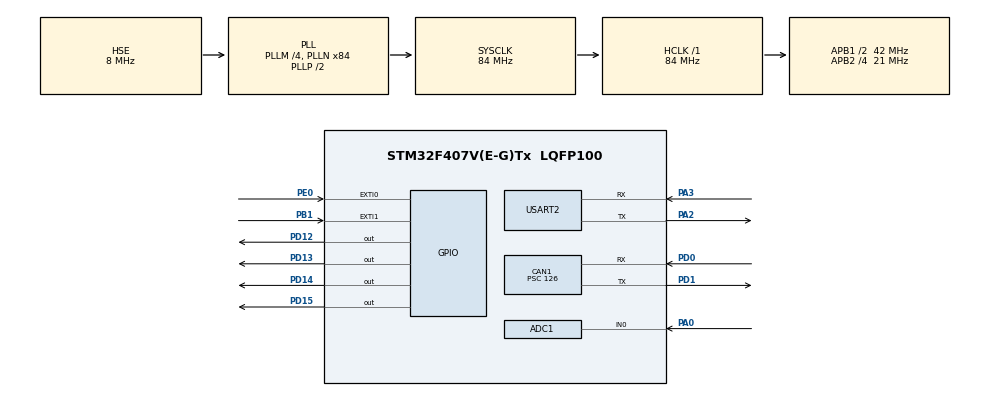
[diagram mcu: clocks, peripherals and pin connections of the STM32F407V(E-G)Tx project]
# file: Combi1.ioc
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ADC1.Channel-0\#ChannelRegularConversion=ADC_CHANNEL_0
ADC1.ClockPrescaler=ADC_CLOCK_SYNC_PCLK_DIV4
ADC1.ContinuousConvMode=ENABLE
ADC1.NbrOfConversionFlag=1
ADC1.Rank-0\#ChannelRegularConversion=1
ADC1.SamplingTime-0\#ChannelRegularConversion=ADC_SAMPLETIME_3CYCLES
ADC1.ScanConvMode=ENABLE
ADC1.master=1
CAN1.BS1=CAN_BS1_12TQ
CAN1.BS2=CAN_BS2_4TQ
CAN1.CalculateTimeQuantum=3000.0
CAN1.Prescaler=126
Dma.ADC1.0.Direction=DMA_PERIPH_TO_MEMORY
Dma.ADC1.0.FIFOMode=DMA_FIFOMODE_DISABLE
Dma.ADC1.0.Instance=DMA2_Stream0
Dma.ADC1.0.MemDataAlignment=DMA_MDATAALIGN_HALFWORD
Dma.ADC1.0.MemInc=DMA_MINC_ENABLE
Dma.ADC1.0.Mode=DMA_NORMAL
Dma.ADC1.0.PeriphDataAlignment=DMA_PDATAALIGN_HALFWORD
Dma.ADC1.0.PeriphInc=DMA_PINC_DISABLE
Dma.ADC1.0.Priority=DMA_PRIORITY_LOW
Dma.Request0=ADC1
Dma.Request1=USART2_RX
Dma.Request2=USART2_TX
Dma.USART2_RX.1.Direction=DMA_PERIPH_TO_MEMORY
Dma.USART2_RX.1.FIFOMode=DMA_FIFOMODE_DISABLE
Dma.USART2_RX.1.Instance=DMA1_Stream5
Dma.USART2_RX.1.MemDataAlignment=DMA_MDATAALIGN_BYTE
Dma.USART2_RX.1.MemInc=DMA_MINC_ENABLE
Dma.USART2_RX.1.Mode=DMA_NORMAL
Dma.USART2_RX.1.PeriphDataAlignment=DMA_PDATAALIGN_BYTE
Dma.USART2_RX.1.PeriphInc=DMA_PINC_DISABLE
Dma.USART2_RX.1.Priority=DMA_PRIORITY_LOW
Dma.USART2_TX.2.Direction=DMA_MEMORY_TO_PERIPH
Dma.USART2_TX.2.FIFOMode=DMA_FIFOMODE_DISABLE
Dma.USART2_TX.2.Instance=DMA1_Stream6
Dma.USART2_TX.2.MemDataAlignment=DMA_MDATAALIGN_BYTE
Dma.USART2_TX.2.MemInc=DMA_MINC_ENABLE
Dma.USART2_TX.2.Mode=DMA_NORMAL
Dma.USART2_TX.2.PeriphDataAlignment=DMA_PDATAALIGN_BYTE
Dma.USART2_TX.2.PeriphInc=DMA_PINC_DISABLE
Dma.USART2_TX.2.Priority=DMA_PRIORITY_LOW
FREERTOS.BinarySemaphores01=myBinarySem01,Dynamic,NULL
FREERTOS.CountingSemaphores01=myCountingSem01,2,Dynamic,NULL
FREERTOS.Tasks01=defaultTask,24,128,StartDefaultTask,Default,NULL,Dynamic,NULL,NULL;IR_EXT1,8,128,StartTask02,Default,NULL,Dynamic,NULL,NULL;Can_Tx,8,128,StartTask03,Default,NULL,Dynamic,NULL,NULL;Temperature,8,128,StartTask04,Default,NULL,Dynamic,NULL,NULL
FREERTOS.Timers01=myTimer01,Callback01,osTimerPeriodic,Default,NULL,Dynamic,NULL
Mcu.Family=STM32F4
Mcu.Name=STM32F407V(E-G)Tx
Mcu.Package=LQFP100
NVIC.ADC_IRQn=true\:5\:0\:false\:false\:true\:true\:true\:true
NVIC.DMA1_Stream5_IRQn=true\:5\:0\:false\:false\:true\:true\:false\:true
NVIC.DMA1_Stream6_IRQn=true\:5\:0\:false\:false\:true\:true\:false\:true
NVIC.DMA2_Stream0_IRQn=true\:5\:0\:false\:false\:true\:true\:false\:true
NVIC.EXTI0_IRQn=true\:5\:0\:false\:false\:true\:true\:true\:true
NVIC.PriorityGroup=NVIC_PRIORITYGROUP_4
NVIC.TIM1_UP_TIM10_IRQn=true\:0\:0\:false\:false\:true\:false\:false\:true
NVIC.TimeBase=TIM1_UP_TIM10_IRQn
NVIC.TimeBaseIP=TIM1
PA0-WKUP.Signal=ADCx_IN0
PA13.Mode=Serial_Wire
PA13.Signal=SYS_JTMS-SWDIO
PA14.Mode=Serial_Wire
PA14.Signal=SYS_JTCK-SWCLK
PA2.Mode=Asynchronous
PA2.Signal=USART2_TX
PA3.Mode=Asynchronous
PA3.Signal=USART2_RX
PB1.Signal=GPXTI1
PD0.Mode=Master
PD0.Signal=CAN1_RX
PD1.Mode=Master
PD1.Signal=CAN1_TX
PD12.Signal=GPIO_Output
PD13.Signal=GPIO_Output
PD14.Signal=GPIO_Output
PD15.Signal=GPIO_Output
PE0.Signal=GPXTI0
PH0-OSC_IN.Mode=HSE-External-Oscillator
PH0-OSC_IN.Signal=RCC_OSC_IN
PH1-OSC_OUT.Mode=HSE-External-Oscillator
PH1-OSC_OUT.Signal=RCC_OSC_OUT
ProjectManager.HeapSize=0x200
ProjectManager.StackSize=0x400
ProjectManager.TargetToolchain=TrueSTUDIO
RCC.48MHZClocksFreq_Value=24000000
RCC.AHBFreq_Value=84000000
RCC.APB1CLKDivider=RCC_HCLK_DIV2
RCC.APB1Freq_Value=42000000
RCC.APB1TimFreq_Value=84000000
RCC.APB2CLKDivider=RCC_HCLK_DIV4
RCC.APB2Freq_Value=21000000
RCC.APB2TimFreq_Value=42000000
RCC.CortexFreq_Value=84000000
RCC.HCLKFreq_Value=84000000
RCC.HSE_VALUE=8000000
RCC.HSI_VALUE=16000000
RCC.LSE_VALUE=32768
RCC.PLLM=4
RCC.PLLN=84
RCC.PLLQ=7
RCC.PLLSourceVirtual=RCC_PLLSOURCE_HSE
RCC.SYSCLKFreq_VALUE=84000000
RCC.SYSCLKSource=RCC_SYSCLKSOURCE_PLLCLK
RCC.VCOOutputFreq_Value=168000000
SH.ADCx_IN0.0=ADC1_IN0,IN0
TIM3.Period=100
TIM3.Prescaler=16
USART2.StopBits=STOPBITS_2
USART2.VirtualMode=VM_ASYNC
VP_FREERTOS_VS_CMSIS_V2.Mode=CMSIS_V2
VP_SYS_VS_tim1.Mode=TIM1
VP_TIM3_VS_ClockSourceINT.Mode=Internal
board=STM32F407G-DISC1

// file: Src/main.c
/* USER CODE BEGIN Header */
/**
  ******************************************************************************
  * @file           : main.c
  * @brief          : Main program body
  ******************************************************************************
  * @attention
  *
  * <h2><center>&copy; Copyright (c) 2020 STMicroelectronics.
  * All rights reserved.</center></h2>
  *
  * This software component is licensed by ST under Ultimate Liberty license
  * SLA0044, the "License"; You may not use this file except in compliance with
  * the License. You may obtain a copy of the License at:
  *                             www.st.com/SLA0044
  *
  ******************************************************************************
  */
/* USER CODE END Header */

#include "main.h"
#include "cmsis_os.h"
#include "stm32f4xx_hal.h"
#include "string.h"
#include "stdio.h"
#include "task.h"

/* USER CODE BEGIN PM */
char msg[23];
//static uint8_t A=0;
uint8_t B=0;//to catch the call back

	uint32_t TxMailbox;
	uint8_t work[26]="Successfully Transmitted!";
	CAN_TxHeaderTypeDef TxHeader;
	CAN_RxHeaderTypeDef RxHeader;
	CAN_FilterTypeDef   sFilterConfig;
	uint8_t IR_data;

	uint8_t flag=0;
/* USER CODE END PM */

ADC_HandleTypeDef hadc1;
DMA_HandleTypeDef hdma_adc1;

CAN_HandleTypeDef hcan1;

TIM_HandleTypeDef htim3;

UART_HandleTypeDef huart2;
DMA_HandleTypeDef hdma_usart2_rx;
DMA_HandleTypeDef hdma_usart2_tx;

/* Definitions for defaultTask */
/*osThreadId_t defaultTaskHandle;
const osThreadAttr_t defaultTask_attributes = {
  .name = "defaultTask",
  .priority = (osPriority_t) osPriorityIdle,
  .stack_size = 128
};*/
/* Definitions for IR_EXT1 */
osThreadId_t IR_EXT1Handle;
const osThreadAttr_t IR_EXT1_attributes = {
  .name = "IR_EXT1",
  .priority = (osPriority_t) osPriorityLow,
  .stack_size = 128
};
/* Definitions for Can_Tx */
osThreadId_t Can_TxHandle;
const osThreadAttr_t Can_Tx_attributes = {
  .name = "Can_Tx",
  .priority = (osPriority_t) osPriorityNormal,
  .stack_size = 128
};
/* Definitions for Temperature */
osThreadId_t TemperatureHandle;
const osThreadAttr_t Temperature_attributes = {
  .name = "Temperature",
  .priority = (osPriority_t) osPriorityNormal,
  .stack_size = 128
};
/* Definitions for myTimer01 */
osTimerId_t myTimer01Handle;
const osTimerAttr_t myTimer01_attributes = {
  .name = "myTimer01"
};
/* Definitions for myBinarySem01 */
osSemaphoreId_t myBinarySem01Handle;
const osSemaphoreAttr_t myBinarySem01_attributes = {
  .name = "myBinarySem01"
};
/* Definitions for myCountingSem01 */
osSemaphoreId_t myCountingSem01Handle;
const osSemaphoreAttr_t myCountingSem01_attributes = {
  .name = "myCountingSem01"
};
/* USER CODE BEGIN PV */
uint8_t spiTxBuf[2],spiRxBuf[2];
uint32_t adcval1;
uint8_t temp;
char temperature;

char  TxData[5];
uint8_t counter;
uint8_t speed;
/* USER CODE END PV */

void SystemClock_Config(void);
static void MX_GPIO_Init(void);
static void MX_DMA_Init(void);
static void MX_ADC1_Init(void);
static void MX_TIM3_Init(void);
static void MX_USART2_UART_Init(void);
static void MX_CAN1_Init(void);
//void StartDefaultTask(void *argument);
void IR_EXT1(void *argument);
void Can_Tx(void *argument);
void Temperature(void *argument);
void Callback01(void *argument);

int main(void)
{

  /* MCU Configuration--------------------------------------------------------*/

  /* Reset of all peripherals, Initializes the Flash interface and the Systick. */
  HAL_Init();

  /* Configure the system clock */
  SystemClock_Config();

  /* Initialize all configured peripherals */
  MX_GPIO_Init();
  MX_DMA_Init();
  MX_ADC1_Init();
  MX_TIM3_Init();
  MX_USART2_UART_Init();
  MX_CAN1_Init();
  /* USER CODE BEGIN 2 */
  HAL_UART_Transmit(&huart2,(uint8_t*)"Real Time Accident Alert System\r\n",32,10);
  /* USER CODE END 2 */
  /* Init scheduler */
  osKernelInitialize();

  /* Create the semaphores(s) */
  /* creation of myBinarySem01 */
  myBinarySem01Handle = osSemaphoreNew(1, 1, &myBinarySem01_attributes);

  /* creation of myCountingSem01 */
  myCountingSem01Handle = osSemaphoreNew(2, 2, &myCountingSem01_attributes);

  /* Create the timer(s) */
  /* creation of myTimer01 */
  myTimer01Handle = osTimerNew(Callback01, osTimerPeriodic, NULL, &myTimer01_attributes);

  /* Create the thread(s) */
  /* creation of defaultTask */
 // defaultTaskHandle = osThreadNew(StartDefaultTask, NULL, &defaultTask_attributes);

  /* creation of IR_EXT1 */
  IR_EXT1Handle = osThreadNew(IR_EXT1, NULL, &IR_EXT1_attributes);

  /* creation of Can_Tx */
  Can_TxHandle = osThreadNew(Can_Tx, NULL, &Can_Tx_attributes);

  /* creation of Temperature */
  TemperatureHandle = osThreadNew(Temperature, NULL, &Temperature_attributes);

  /* Start scheduler */
  osKernelStart();

  /* We should never get here as control is now taken by the scheduler */

  /* Infinite loop */
  while (1)
  {

  }
}

void SystemClock_Config(void)
{
  RCC_OscInitTypeDef RCC_OscInitStruct = {0};
  RCC_ClkInitTypeDef RCC_ClkInitStruct = {0};

  /** Configure the main internal regulator output voltage
  */
  __HAL_RCC_PWR_CLK_ENABLE();
  __HAL_PWR_VOLTAGESCALING_CONFIG(PWR_REGULATOR_VOLTAGE_SCALE1);
  /** Initializes the CPU, AHB and APB busses clocks
  */
  RCC_OscInitStruct.OscillatorType = RCC_OSCILLATORTYPE_HSE;
  RCC_OscInitStruct.HSEState = RCC_HSE_ON;
  RCC_OscInitStruct.PLL.PLLState = RCC_PLL_ON;
  RCC_OscInitStruct.PLL.PLLSource = RCC_PLLSOURCE_HSE;
  RCC_OscInitStruct.PLL.PLLM = 4;
  RCC_OscInitStruct.PLL.PLLN = 84;
  RCC_OscInitStruct.PLL.PLLP = RCC_PLLP_DIV2;
  RCC_OscInitStruct.PLL.PLLQ = 7;
  if (HAL_RCC_OscConfig(&RCC_OscInitStruct) != HAL_OK)
  {
    Error_Handler();
  }
  /** Initializes the CPU, AHB and APB busses clocks
  */
  RCC_ClkInitStruct.ClockType = RCC_CLOCKTYPE_HCLK|RCC_CLOCKTYPE_SYSCLK
                              |RCC_CLOCKTYPE_PCLK1|RCC_CLOCKTYPE_PCLK2;
  RCC_ClkInitStruct.SYSCLKSource = RCC_SYSCLKSOURCE_PLLCLK;
  RCC_ClkInitStruct.AHBCLKDivider = RCC_SYSCLK_DIV1;
  RCC_ClkInitStruct.APB1CLKDivider = RCC_HCLK_DIV2;
  RCC_ClkInitStruct.APB2CLKDivider = RCC_HCLK_DIV4;

  if (HAL_RCC_ClockConfig(&RCC_ClkInitStruct, FLASH_LATENCY_2) != HAL_OK)
  {
    Error_Handler();
  }
}

static void MX_ADC1_Init(void)
{

  ADC_ChannelConfTypeDef sConfig = {0};

  /** Configure the global features of the ADC (Clock, Resolution, Data Alignment and number of conversion)
  */
  hadc1.Instance = ADC1;
  hadc1.Init.ClockPrescaler = ADC_CLOCK_SYNC_PCLK_DIV4;
  hadc1.Init.Resolution = ADC_RESOLUTION_12B;
  hadc1.Init.ScanConvMode = ENABLE;
  hadc1.Init.ContinuousConvMode = ENABLE;
  hadc1.Init.DiscontinuousConvMode = DISABLE;
  hadc1.Init.ExternalTrigConvEdge = ADC_EXTERNALTRIGCONVEDGE_NONE;
  hadc1.Init.ExternalTrigConv = ADC_SOFTWARE_START;
  hadc1.Init.DataAlign = ADC_DATAALIGN_RIGHT;
  hadc1.Init.NbrOfConversion = 1;
  hadc1.Init.DMAContinuousRequests = DISABLE;
  hadc1.Init.EOCSelection = ADC_EOC_SINGLE_CONV;
  if (HAL_ADC_Init(&hadc1) != HAL_OK)
  {
    Error_Handler();
  }
  /** Configure for the selected ADC regular channel its corresponding rank in the sequencer and its sample time.
  */
  sConfig.Channel = ADC_CHANNEL_0;
  sConfig.Rank = 1;
  sConfig.SamplingTime = ADC_SAMPLETIME_3CYCLES;
  if (HAL_ADC_ConfigChannel(&hadc1, &sConfig) != HAL_OK)
  {
    Error_Handler();
  }

}

static void MX_CAN1_Init(void)
{

  hcan1.Instance = CAN1;
  hcan1.Init.Prescaler = 126;
  hcan1.Init.Mode = CAN_MODE_NORMAL;
  hcan1.Init.SyncJumpWidth = CAN_SJW_1TQ;
  hcan1.Init.TimeSeg1 = CAN_BS1_12TQ;
  hcan1.Init.TimeSeg2 = CAN_BS2_4TQ;
  hcan1.Init.TimeTriggeredMode = DISABLE;
  hcan1.Init.AutoBusOff = DISABLE;
  hcan1.Init.AutoWakeUp = DISABLE;
  hcan1.Init.AutoRetransmission = DISABLE;
  hcan1.Init.ReceiveFifoLocked = DISABLE;
  hcan1.Init.TransmitFifoPriority = DISABLE;
  if (HAL_CAN_Init(&hcan1) != HAL_OK)
  {
    Error_Handler();
  }
  /* USER CODE BEGIN CAN1_Init 2 */
  sFilterConfig.FilterBank = 0;
               sFilterConfig.FilterMode = CAN_FILTERMODE_IDMASK;
               sFilterConfig.FilterScale = CAN_FILTERSCALE_32BIT;
               sFilterConfig.FilterIdHigh = 0x0000;
               sFilterConfig.FilterIdLow = 0x0000;
               sFilterConfig.FilterMaskIdHigh = 0x0000;
               sFilterConfig.FilterMaskIdLow = 0x0000;
               sFilterConfig.FilterFIFOAssignment = CAN_RX_FIFO0;
               sFilterConfig.FilterActivation = ENABLE;
               sFilterConfig.SlaveStartFilterBank = 14;
  				if(HAL_CAN_ConfigFilter(&hcan1, &sFilterConfig) != HAL_OK)
               {
                  //Filter configuration Error
                 Error_Handler();
               }
  						 if(HAL_CAN_Start(&hcan1)!=HAL_OK)
  							 {
  									Error_Handler();
  							 }
  /* USER CODE END CAN1_Init 2 */

}

static void MX_TIM3_Init(void)
{

  TIM_ClockConfigTypeDef sClockSourceConfig = {0};
  TIM_MasterConfigTypeDef sMasterConfig = {0};

  htim3.Instance = TIM3;
  htim3.Init.Prescaler = 16;
  htim3.Init.CounterMode = TIM_COUNTERMODE_UP;
  htim3.Init.Period = 100;
  htim3.Init.ClockDivision = TIM_CLOCKDIVISION_DIV1;
  htim3.Init.AutoReloadPreload = TIM_AUTORELOAD_PRELOAD_DISABLE;
  if (HAL_TIM_Base_Init(&htim3) != HAL_OK)
  {
    Error_Handler();
  }
  sClockSourceConfig.ClockSource = TIM_CLOCKSOURCE_INTERNAL;
  if (HAL_TIM_ConfigClockSource(&htim3, &sClockSourceConfig) != HAL_OK)
  {
    Error_Handler();
  }
  sMasterConfig.MasterOutputTrigger = TIM_TRGO_RESET;
  sMasterConfig.MasterSlaveMode = TIM_MASTERSLAVEMODE_DISABLE;
  if (HAL_TIMEx_MasterConfigSynchronization(&htim3, &sMasterConfig) != HAL_OK)
  {
    Error_Handler();
  }

}

static void MX_USART2_UART_Init(void)
{

  huart2.Instance = USART2;
  huart2.Init.BaudRate = 115200;
  huart2.Init.WordLength = UART_WORDLENGTH_8B;
  huart2.Init.StopBits = UART_STOPBITS_2;
  huart2.Init.Parity = UART_PARITY_NONE;
  huart2.Init.Mode = UART_MODE_TX_RX;
  huart2.Init.HwFlowCtl = UART_HWCONTROL_NONE;
  huart2.Init.OverSampling = UART_OVERSAMPLING_16;
  if (HAL_UART_Init(&huart2) != HAL_OK)
  {
    Error_Handler();
  }

}

static void MX_DMA_Init(void)
{

  /* DMA controller clock enable */
  __HAL_RCC_DMA2_CLK_ENABLE();
  __HAL_RCC_DMA1_CLK_ENABLE();

  /* DMA interrupt init */
  /* DMA1_Stream5_IRQn interrupt configuration */
  HAL_NVIC_SetPriority(DMA1_Stream5_IRQn, 5, 0);
  HAL_NVIC_EnableIRQ(DMA1_Stream5_IRQn);
  /* DMA1_Stream6_IRQn interrupt configuration */
  HAL_NVIC_SetPriority(DMA1_Stream6_IRQn, 5, 0);
  HAL_NVIC_EnableIRQ(DMA1_Stream6_IRQn);
  /* DMA2_Stream0_IRQn interrupt configuration */
  HAL_NVIC_SetPriority(DMA2_Stream0_IRQn, 5, 0);
  HAL_NVIC_EnableIRQ(DMA2_Stream0_IRQn);

}

static void MX_GPIO_Init(void)
{
  GPIO_InitTypeDef GPIO_InitStruct = {0};

  /* GPIO Ports Clock Enable */
  __HAL_RCC_GPIOH_CLK_ENABLE();
  __HAL_RCC_GPIOA_CLK_ENABLE();
  __HAL_RCC_GPIOB_CLK_ENABLE();
  __HAL_RCC_GPIOD_CLK_ENABLE();
  __HAL_RCC_GPIOE_CLK_ENABLE();

  /*Configure GPIO pin Output Level */
  HAL_GPIO_WritePin(GPIOD, GPIO_PIN_12|GPIO_PIN_13|GPIO_PIN_14|GPIO_PIN_15, GPIO_PIN_RESET);

  /*Configure GPIO pin : PB1 */
  GPIO_InitStruct.Pin = GPIO_PIN_1;
  GPIO_InitStruct.Mode = GPIO_MODE_IT_RISING;
  GPIO_InitStruct.Pull = GPIO_NOPULL;
  HAL_GPIO_Init(GPIOB, &GPIO_InitStruct);

  /*Configure GPIO pins : PD12 PD13 PD14 PD15 */
  GPIO_InitStruct.Pin = GPIO_PIN_12|GPIO_PIN_13|GPIO_PIN_14|GPIO_PIN_15;
  GPIO_InitStruct.Mode = GPIO_MODE_OUTPUT_PP;
  GPIO_InitStruct.Pull = GPIO_NOPULL;
  GPIO_InitStruct.Speed = GPIO_SPEED_FREQ_LOW;
  HAL_GPIO_Init(GPIOD, &GPIO_InitStruct);

  /*Configure GPIO pin : PE0 */
  GPIO_InitStruct.Pin = GPIO_PIN_0;
  GPIO_InitStruct.Mode = GPIO_MODE_IT_RISING;
  GPIO_InitStruct.Pull = GPIO_NOPULL;
  HAL_GPIO_Init(GPIOE, &GPIO_InitStruct);

  /* EXTI interrupt init*/
  HAL_NVIC_SetPriority(EXTI0_IRQn, 5, 0);
  HAL_NVIC_EnableIRQ(EXTI0_IRQn);

}

/*void StartDefaultTask(void *argument)
{
   USER CODE BEGIN 5
   Infinite loop
  for(;;)
  {
	  TickType_t xLastWakeTime;
	  xLastWakeTime = xTaskGetTickCount();

	  const TickType_t xPeriod = pdMS_TO_TICKS( 10000 );
	  HAL_UART_Transmit(&huart2,"In Default",10,10);
  	  vTaskDelayUntil( &xLastWakeTime, xPeriod );

  }
   USER CODE END 5
}*/

/* USER CODE BEGIN Header_StartTask02*/
/* USER CODE END Header_StartTask02 */
void IR_EXT1(void *argument)
{
  /* USER CODE BEGIN StartTask02 */
	TickType_t xLastWakeTime;
		xLastWakeTime = xTaskGetTickCount();
		TickType_t xTimeOut;
		vTaskSetTimeOutState( &xTimeOut );

		const TickType_t xPeriod = pdMS_TO_TICKS( 1000 );
		const TickType_t xTicksToWait=pdMS_TO_TICKS(3000 );
	  /* Infinite loop */

	 for(;;)
	  {
		  	  if(flag==1)
		  		  goto AB;
		 	if((HAL_GPIO_ReadPin(GPIOB,GPIO_PIN_1) ==1)){
		 		while(!(HAL_GPIO_ReadPin(GPIOB,GPIO_PIN_1) ==0));
		 		counter++;
		 	HAL_UART_Transmit(&huart2,(uint8_t*)"In IR1\r\n",7,10);
		 	 }

		while((!(HAL_GPIO_ReadPin(GPIOB,GPIO_PIN_1) ==1))||(HAL_GPIO_ReadPin(GPIOB,GPIO_PIN_1) ==1)){
		 if( xTaskCheckForTimeOut( &xTimeOut, &xTicksToWait ) != pdFALSE )
		  {
		  /* Timed out before the wanted number of bytes were available, exit the loop. */
			 HAL_UART_Transmit(&huart2,(uint8_t*)"Vehicle stopped\r\n",17,HAL_MAX_DELAY);
			 flag++;
			 IR_data=1;
			 TxData[1]= IR_data;
			AB: break;
		  }
		  }
		 	 //while(!((HAL_GPIO_ReadPin(GPIOB,GPIO_PIN_1)) ==1)||((HAL_GPIO_ReadPin(GPIOB,GPIO_PIN_1)) ==0));

		 taskYIELD();
		 vTaskDelayUntil( &xLastWakeTime, xPeriod );

	  }
  /* USER CODE END StartTask02 */
}

void Can_Tx(void *argument)
{
  /* USER CODE BEGIN StartTask03 */
			TickType_t xLastWakeTime;
			xLastWakeTime = xTaskGetTickCount();

			const TickType_t xPeriod = pdMS_TO_TICKS( 1000 );
	  /* Infinite loop */
	  for(;;)
	  {
		  //HAL_UART_Transmit(&huart2,"Start CAN",9,10);
		  HAL_GPIO_TogglePin(GPIOD,GPIO_PIN_12);
		  	HAL_Delay(500);
		  	TxHeader.DLC=5;
		  	TxHeader.StdId=0x65D;
		  	TxHeader.IDE=CAN_ID_STD;
		  	TxHeader.RTR=CAN_RTR_DATA;
			  TxData[0]=temp;
			  TxData[1]= IR_data;
		  	if(HAL_CAN_AddTxMessage(&hcan1,&TxHeader,(uint8_t*)TxData,&TxMailbox)!=HAL_OK){
		  	 Error_Handler();
		  	}
		  	//while(HAL_CAN_IsTxMessagePending(&hcan1,TxMailbox));
		  	while(HAL_CAN_GetTxMailboxesFreeLevel(&hcan1) != 3);

		  	HAL_UART_Transmit(&huart2,(uint8_t*)"Transmitted\r\n",12,10);

		  	vTaskDelayUntil( &xLastWakeTime, xPeriod);

	  }
  /* USER CODE END StartTask03 */
}

void Temperature(void *argument)
{
  /* USER CODE BEGIN StartTask04 */
	TickType_t xLastWakeTime;
	xLastWakeTime = xTaskGetTickCount();
	const TickType_t xPeriod = pdMS_TO_TICKS(2000 );
	  /* Infinite loop */
	  for(;;)
	  {		HAL_ADC_Start_DMA (&hadc1, &adcval1, 1);
	  	  	HAL_GPIO_TogglePin(GPIOD, GPIO_PIN_15);
	  	    HAL_Delay(100);
	  	    adcval1 = HAL_ADC_GetValue(&hadc1);
	  	    temp = (adcval1/12.4);
		    TxData[0]=temp;
		                   HAL_UART_Transmit(&huart2,(uint8_t*)"In Temp\r\n",8,10);
		    vTaskDelayUntil( &xLastWakeTime, xPeriod );
	  }
  /* USER CODE END StartTask04 */
}

/* Callback01 function */
void Callback01(void *argument)
{
}

void HAL_TIM_PeriodElapsedCallback(TIM_HandleTypeDef *htim)
{
  if (htim->Instance == TIM1) {
    HAL_IncTick();
  }
}

void Error_Handler(void)
{
}

/************************ (C) COPYRIGHT STMicroelectronics *****END OF FILE****/
